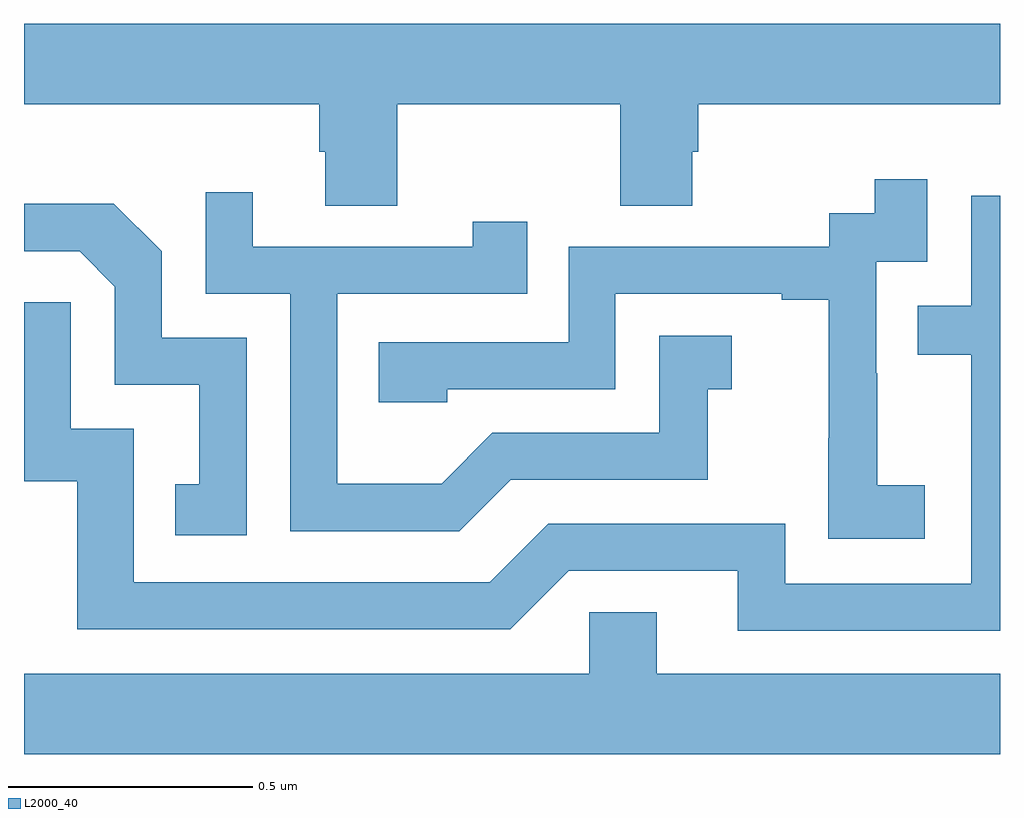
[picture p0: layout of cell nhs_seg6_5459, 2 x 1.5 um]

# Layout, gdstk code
import gdstk
lib = gdstk.Library(unit=1e-6, precision=1e-09)
def P(c, l, *ps):  # polygons
    for p in ps: c.add(gdstk.Polygon(p, *l))
L2000_40 = (2000, 40)

nhs_seg6_5459 = lib.new_cell('nhs_seg6_5459')
P(nhs_seg6_5459, L2000_40, [(183.765,938.012),(184.222,938.012),(184.222,937.804),(184.369,937.804),(184.369,937.914),(184.382,937.914),(184.382,938.012),(185,938.012),(185,938.176),(183,938.176),(183,938.012),(183.605,938.012),(183.605,937.914),(183.617,937.914),(183.617,937.804),(183.765,937.804)],
  [(184.846,937.231),(184.748,937.231),(184.748,937.46),(184.746,937.46),(184.746,937.689),(184.851,937.689),(184.851,937.858),(184.743,937.858),(184.743,937.788),(184.65,937.788),(184.65,937.719),(184.116,937.719),(184.116,937.524),(183.727,937.524),(183.727,937.401),(183.867,937.401),(183.867,937.428),(184.212,937.428),(184.212,937.623),(184.553,937.623),(184.553,937.611),(184.649,937.611),(184.649,937.327),(184.648,937.327),(184.648,937.121),(184.846,937.121)],
  [(183.997,937.242),(184.401,937.242),(184.401,937.427),(184.45,937.427),(184.45,937.537),(184.302,937.537),(184.302,937.338),(183.96,937.338),(183.856,937.234),(183.642,937.234),(183.642,937.623),(184.031,937.623),(184.031,937.771),(183.92,937.771),(183.92,937.719),(183.469,937.719),(183.469,937.831),(183.372,937.831),(183.372,937.623),(183.546,937.623),(183.546,937.137),(183.892,937.137)],
  [(185,937.824),(184.941,937.824),(184.941,937.599),(184.831,937.599),(184.831,937.498),(184.941,937.498),(184.941,937.029),(184.56,937.029),(184.56,937.152),(184.074,937.152),(183.954,937.032),(183.225,937.032),(183.225,937.347),(183.096,937.347),(183.096,937.606),(183,937.606),(183,937.239),(183.109,937.239),(183.109,936.936),(183.996,936.936),(184.116,937.056),(184.463,937.056),(184.463,936.933),(185,936.933)],
  [(183.456,937.533),(183.282,937.533),(183.282,937.71),(183.184,937.808),(183,937.808),(183,937.71),(183.114,937.71),(183.186,937.638),(183.186,937.437),(183.359,937.437),(183.359,937.233),(183.31,937.233),(183.31,937.128),(183.456,937.128)],
  [(185,936.844),(184.297,936.844),(184.297,936.971),(184.158,936.971),(184.158,936.844),(183,936.844),(183,936.68),(185,936.68)])

lib.write_gds('nhs_seg6_5459.gds')
